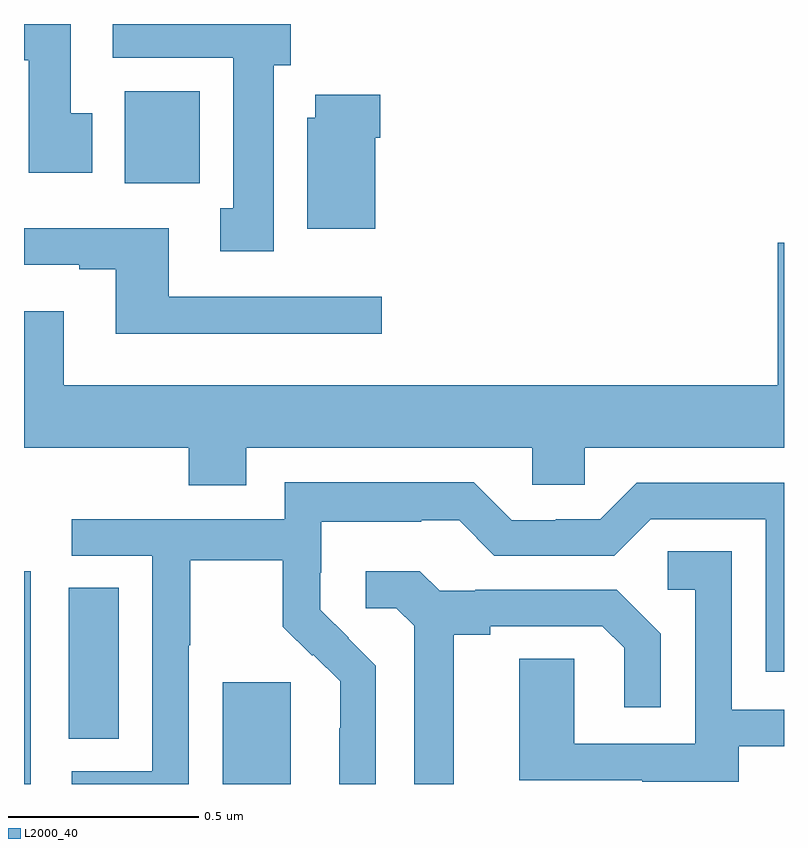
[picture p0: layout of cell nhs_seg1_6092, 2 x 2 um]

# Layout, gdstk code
import gdstk
lib = gdstk.Library(unit=1e-6, precision=1e-09)
def R(c, l, rs):  # rectangles x0, y0, x1, y1
    for r in rs: c.add(gdstk.rectangle(r[:2], r[2:], *l))
def P(c, l, *ps):  # polygons
    for p in ps: c.add(gdstk.Polygon(p, *l))
L2000_40 = (2000, 40)

nhs_seg1_6092 = lib.new_cell('nhs_seg1_6092')
R(nhs_seg1_6092, L2000_40, [(187,532.199,187.018,532.759), (187.523,532.199,187.702,532.467), (187.118,532.318,187.249,532.715), (187.265,533.78,187.462,534.022)])
P(nhs_seg1_6092, L2000_40, [(187.18,533.964),(187.123,533.964),(187.123,534.199),(187,534.199),(187,534.104),(187.013,534.104),(187.013,533.808),(187.18,533.808)],
  [(187.657,534.09),(187.702,534.09),(187.702,534.199),(187.233,534.199),(187.233,534.11),(187.55,534.11),(187.55,533.714),(187.517,533.714),(187.517,533.601),(187.657,533.601)],
  [(187.924,533.9),(187.937,533.9),(187.937,534.013),(187.766,534.013),(187.766,533.952),(187.745,533.952),(187.745,533.66),(187.924,533.66)],
  [(187.942,533.481),(187.381,533.481),(187.381,533.662),(187,533.662),(187,533.565),(187.145,533.565),(187.145,533.553),(187.241,533.553),(187.241,533.384),(187.942,533.384)],
  [(187.585,533.084),(188.337,533.084),(188.337,532.986),(188.475,532.986),(188.475,533.084),(189,533.084),(189,533.623),(188.984,533.623),(188.984,533.248),(187.105,533.248),(187.105,533.443),(187,533.443),(187,533.084),(187.433,533.084),(187.433,532.985),(187.585,532.985)],
  [(187.434,532.564),(187.437,532.564),(187.437,532.788),(187.681,532.788),(187.681,532.613),(187.758,532.536),(187.761,532.539),(187.832,532.469),(187.832,532.346),(187.83,532.346),(187.83,532.199),(187.926,532.199),(187.926,532.51),(187.853,532.583),(187.854,532.584),(187.78,532.658),(187.78,532.755),(187.782,532.755),(187.782,532.889),(188.045,532.889),(188.045,532.893),(188.145,532.893),(188.238,532.8),(188.553,532.8),(188.649,532.896),(188.952,532.896),(188.952,532.494),(189,532.494),(189,532.992),(188.613,532.992),(188.517,532.896),(188.399,532.896),(188.399,532.893),(188.283,532.893),(188.183,532.993),(187.686,532.993),(187.686,532.896),(187.125,532.896),(187.125,532.8),(187.338,532.8),(187.338,532.233),(187.125,532.233),(187.125,532.199),(187.434,532.199)],
  [(188.881,532.299),(189,532.299),(189,532.395),(188.862,532.395),(188.862,532.811),(188.694,532.811),(188.694,532.71),(188.766,532.71),(188.766,532.305),(188.448,532.305),(188.448,532.529),(188.303,532.529),(188.303,532.209),(188.627,532.209),(188.627,532.205),(188.881,532.205)],
  [(188.131,532.592),(188.227,532.592),(188.227,532.614),(188.522,532.614),(188.579,532.557),(188.579,532.401),(188.676,532.401),(188.676,532.594),(188.56,532.71),(188.188,532.71),(188.188,532.707),(188.094,532.707),(188.042,532.759),(187.899,532.759),(187.899,532.662),(187.98,532.662),(188.027,532.615),(188.027,532.199),(188.131,532.199)])

lib.write_gds('nhs_seg1_6092.gds')
